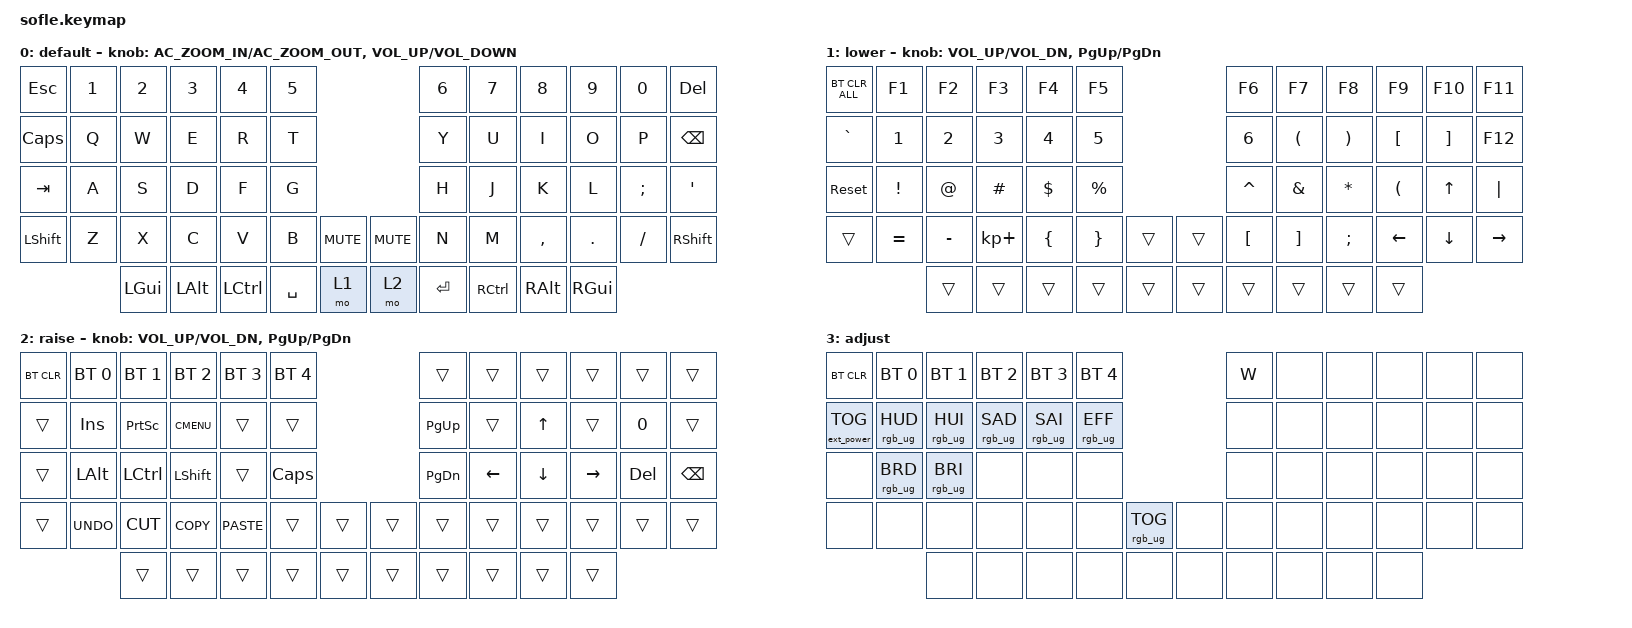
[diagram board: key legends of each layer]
/*
 * Copyright (c) 2020 The ZMK Contributors
 *
 * SPDX-License-Identifier: MIT
 */

#include <behaviors.dtsi>
#include <dt-bindings/zmk/bt.h>
#include <dt-bindings/zmk/ext_power.h>
#include <dt-bindings/zmk/keys.h>
#include <dt-bindings/zmk/rgb.h>

#define BASE 0
#define LOWER 1
#define RAISE 2
#define ADJUST 3

/ {
    // Activate ADJUST layer by pressing raise and lower

    conditional_layers {
        compatible = "zmk,conditional-layers";

        adjust_layer {
            if-layers = <LOWER RAISE>;
            then-layer = <ADJUST>;
        };
    };

    keymap {
        compatible = "zmk,keymap";

        default_layer {
            label = "default";

            // ------------------------------------------------------------------------------------------------------------
            // |   `   |  1  |  2  |  3   |  4   |  5   |                   |  6   |  7    |  8    |  9   |   0   |       |
            // |  ESC  |  Q  |  W  |  E   |  R   |  T   |                   |  Y   |  U    |  I    |  O   |   P   | BKSPC |
            // |  TAB  |  A  |  S  |  D   |  F   |  G   |                   |  H   |  J    |  K    |  L   |   ;   |   '   |
            // | SHIFT |  Z  |  X  |  C   |  V   |  B   |  MUTE  |  |       |  N   |  M    |  ,    |  .   |   /   | SHIFT |
            //               | GUI | ALT  | CTRL | LOWER|  ENTER |  | SPACE | RAISE| CTRL  | ALT   | GUI  |

            bindings = <
&kp ESC       &kp N1  &kp N2    &kp N3    &kp N4     &kp N5                               &kp N6     &kp N7     &kp N8     &kp N9    &kp N0    &kp DELETE
&kp CAPSLOCK  &kp Q   &kp W     &kp E     &kp R      &kp T                                &kp Y      &kp U      &kp I      &kp O     &kp P     &kp BSPC
&kp TAB       &kp A   &kp S     &kp D     &kp F      &kp G                                &kp H      &kp J      &kp K      &kp L     &kp SEMI  &kp SQT
&kp LSHFT     &kp Z   &kp X     &kp C     &kp V      &kp B      &kp C_MUTE    &kp C_MUTE  &kp N      &kp M      &kp COMMA  &kp DOT   &kp FSLH  &kp RSHFT
                      &kp LGUI  &kp LALT  &kp LCTRL  &kp SPACE  &mo 1         &mo 2       &kp ENTER  &kp RCTRL  &kp RALT   &kp RGUI
            >;

            sensor-bindings =
                <&inc_dec_kp C_AC_ZOOM_IN C_AC_ZOOM_OUT>,
                <&inc_dec_kp C_VOLUME_UP C_VOLUME_DOWN>;
        };

        lower_layer {
            label = "lower";

            // TODO: Some binds are waiting for shifted keycode support.
            // ------------------------------------------------------------------------------------------------------------
            // |       |  F1 |  F2 |  F3  |  F4  |  F5  |                   |  F6  |  F7   |  F8   |  F9  |  F10  |  F11  |
            // |   `   |  1  |  2  |  3   |  4   |  5   |                   |  6   |  7    |  8    |  9   |   0   |  F12  |
            // |       |  !  |  @  |  #   |  $   |  %   |                   |  ^   |  &    |  *    |  (   |   )   |   |   |
            // |       |  =  |  -  |  +   |  {   |  }   |        |  |       |  [   |  ]    |  ;    |  :   |   \   |       |
            //               |     |      |      |      |        |  |       |      |       |       |      |

            bindings = <
&bt BT_CLR_ALL  &kp F1     &kp F2     &kp F3       &kp F4    &kp F5                       &kp F6     &kp F7                &kp F8                 &kp F9            &kp F10            &kp F11
&kp GRAVE       &kp N1     &kp N2     &kp N3       &kp N4    &kp N5                       &kp N6     &kp LEFT_PARENTHESIS  &kp RIGHT_PARENTHESIS  &kp LEFT_BRACKET  &kp RIGHT_BRACKET  &kp F12
&sys_reset      &kp EXCL   &kp AT     &kp HASH     &kp DLLR  &kp PRCNT                    &kp CARET  &kp AMPS              &kp ASTERISK           &kp LPAR          &kp UP_ARROW       &kp PIPE
&trans          &kp EQUAL  &kp MINUS  &kp KP_PLUS  &kp LBRC  &kp RBRC   &trans    &trans  &kp LBKT   &kp RBKT              &kp SEMI               &kp LEFT          &kp DOWN           &kp RIGHT
                           &trans     &trans       &trans    &trans     &trans    &trans  &trans     &trans                &trans                 &trans
            >;

            sensor-bindings = <&inc_dec_kp C_VOL_UP C_VOL_DN &inc_dec_kp PG_UP PG_DN>;
        };

        raise_layer {
            label = "raise";

            // ------------------------------------------------------------------------------------------------------------
            // | BTCLR | BT1  | BT2  |  BT3  |  BT4  |  BT5 |                |      |      |       |      |       |       |
            // |       | INS  | PSCR | GUI   |       |      |                | PGUP |      |   ^   |      |       |       |
            // |       | ALT  | CTRL | SHIFT |       | CAPS |                | PGDN |   <- |   v   |  ->  |  DEL  | BKSPC |
            // |       | UNDO | CUT  | COPY  | PASTE |      |      |  |      |      |      |       |      |       |       |
            //                |      |       |       |      |      |  |      |      |      |       |      |

            bindings = <
&bt BT_CLR  &bt BT_SEL 0  &bt BT_SEL 1  &bt BT_SEL 2  &bt BT_SEL 3  &bt BT_SEL 4                    &trans     &trans    &trans    &trans     &trans   &trans
&trans      &kp INS       &kp PSCRN     &kp K_CMENU   &trans        &trans                          &kp PG_UP  &trans    &kp UP    &trans     &kp N0   &trans
&trans      &kp LALT      &kp LCTRL     &kp LSHFT     &trans        &kp CLCK                        &kp PG_DN  &kp LEFT  &kp DOWN  &kp RIGHT  &kp DEL  &kp BSPC
&trans      &kp K_UNDO    &kp K_CUT     &kp K_COPY    &kp K_PASTE   &trans        &trans    &trans  &trans     &trans    &trans    &trans     &trans   &trans
                          &trans        &trans        &trans        &trans        &trans    &trans  &trans     &trans    &trans    &trans
            >;

            sensor-bindings = <&inc_dec_kp C_VOL_UP C_VOL_DN &inc_dec_kp PG_UP PG_DN>;
        };

        adjust_layer {
            // ----------------------------------------------------------------------------------------------------------------------------
            // | BTCLR  |  BT1    |  BT2    |   BT3   |   BT4   |   BT5   |                  |      |      |       |      |       |       |
            // | EXTPWR | RGB_HUD | RGB_HUI | RGB_SAD | RGB_SAI | RGB_EFF |                  |      |      |       |      |       |       |
            // |        | RGB_BRD | RGB_BRI |         |         |         |                  |      |      |       |      |       |       |
            // |        |         |         |         |         |         | RGB_TOG | |      |      |      |       |      |       |       |
            //                    |         |         |         |         |         | |      |      |      |       |      |

            label = "adjust";
            bindings = <
&bt BT_CLR         &bt BT_SEL 0     &bt BT_SEL 1     &bt BT_SEL 2     &bt BT_SEL 3     &bt BT_SEL 4                               &kp W  &none  &none  &none  &none  &none
&ext_power EP_TOG  &rgb_ug RGB_HUD  &rgb_ug RGB_HUI  &rgb_ug RGB_SAD  &rgb_ug RGB_SAI  &rgb_ug RGB_EFF                            &none  &none  &none  &none  &none  &none
&none              &rgb_ug RGB_BRD  &rgb_ug RGB_BRI  &none            &none            &none                                      &none  &none  &none  &none  &none  &none
&none              &none            &none            &none            &none            &none            &rgb_ug RGB_TOG    &none  &none  &none  &none  &none  &none  &none
                                    &none            &none            &none            &none            &none              &none  &none  &none  &none  &none
            >;
        };
    };
};
